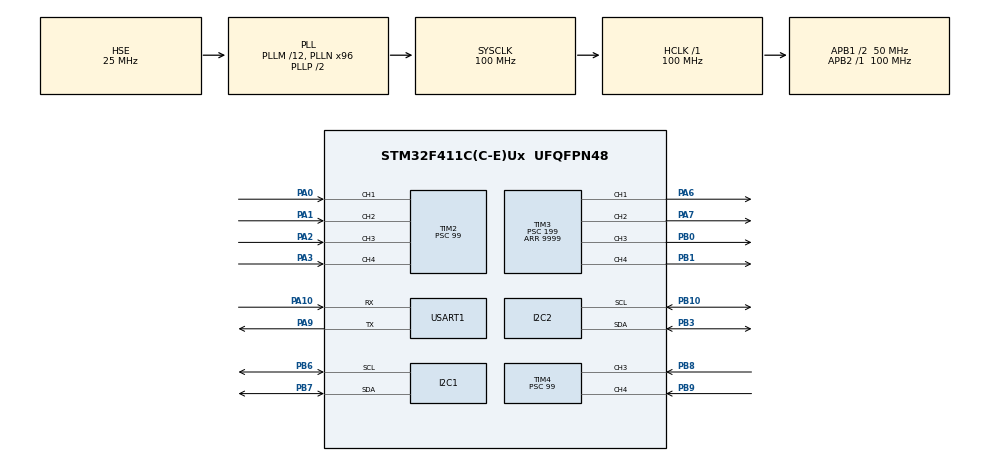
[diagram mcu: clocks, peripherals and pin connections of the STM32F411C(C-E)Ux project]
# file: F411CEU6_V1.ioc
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I2C1.I2C_Mode=I2C_Fast
I2C2.I2C_Mode=I2C_Fast
Mcu.Family=STM32F4
Mcu.Name=STM32F411C(C-E)Ux
Mcu.Package=UFQFPN48
NVIC.PriorityGroup=NVIC_PRIORITYGROUP_4
NVIC.TIM1_UP_TIM10_IRQn=true\:1\:0\:true\:false\:true\:true\:true
NVIC.TIM2_IRQn=true\:3\:0\:true\:false\:true\:true\:true
NVIC.TIM4_IRQn=true\:2\:0\:true\:false\:true\:true\:true
NVIC.USART1_IRQn=true\:4\:0\:true\:false\:true\:true\:true
PA0-WKUP.GPIO_PuPd=GPIO_PULLDOWN
PA0-WKUP.Signal=S_TIM2_CH1_ETR
PA1.GPIO_PuPd=GPIO_PULLDOWN
PA1.Signal=S_TIM2_CH2
PA10.Mode=Asynchronous
PA10.Signal=USART1_RX
PA13.Mode=Serial_Wire
PA13.Signal=SYS_JTMS-SWDIO
PA14.Mode=Serial_Wire
PA14.Signal=SYS_JTCK-SWCLK
PA2.GPIO_PuPd=GPIO_PULLDOWN
PA2.Signal=S_TIM2_CH3
PA3.GPIO_PuPd=GPIO_PULLDOWN
PA3.Signal=S_TIM2_CH4
PA6.GPIO_PuPd=GPIO_PULLDOWN
PA6.Signal=S_TIM3_CH1
PA7.GPIO_PuPd=GPIO_PULLDOWN
PA7.Signal=S_TIM3_CH2
PA9.Mode=Asynchronous
PA9.Signal=USART1_TX
PB0.GPIO_PuPd=GPIO_PULLDOWN
PB0.Signal=S_TIM3_CH3
PB1.GPIO_PuPd=GPIO_PULLDOWN
PB1.Signal=S_TIM3_CH4
PB10.Mode=I2C
PB10.Signal=I2C2_SCL
PB3.Mode=I2C
PB3.Signal=I2C2_SDA
PB6.Mode=I2C
PB6.Signal=I2C1_SCL
PB7.Mode=I2C
PB7.Signal=I2C1_SDA
PB8.GPIO_PuPd=GPIO_PULLDOWN
PB8.Signal=S_TIM4_CH3
PB9.GPIO_PuPd=GPIO_PULLDOWN
PB9.Signal=S_TIM4_CH4
PC14-OSC32_IN.Mode=LSE-External-Oscillator
PC14-OSC32_IN.Signal=RCC_OSC32_IN
PC15-OSC32_OUT.Mode=LSE-External-Oscillator
PC15-OSC32_OUT.Signal=RCC_OSC32_OUT
PH0\ -\ OSC_IN.Mode=HSE-External-Oscillator
PH0\ -\ OSC_IN.Signal=RCC_OSC_IN
PH1\ -\ OSC_OUT.Mode=HSE-External-Oscillator
PH1\ -\ OSC_OUT.Signal=RCC_OSC_OUT
ProjectManager.HeapSize=0x200
ProjectManager.StackSize=0x400
ProjectManager.TargetToolchain=MDK-ARM V5.27
RCC.48MHZClocksFreq_Value=50000000
RCC.AHBFreq_Value=100000000
RCC.APB1CLKDivider=RCC_HCLK_DIV2
RCC.APB1Freq_Value=50000000
RCC.APB1TimFreq_Value=100000000
RCC.APB2Freq_Value=100000000
RCC.APB2TimFreq_Value=100000000
RCC.CortexFreq_Value=100000000
RCC.HCLKFreq_Value=100000000
RCC.HSE_VALUE=25000000
RCC.HSI_VALUE=16000000
RCC.PLLM=12
RCC.PLLN=96
RCC.PLLSourceVirtual=RCC_PLLSOURCE_HSE
RCC.SYSCLKFreq_VALUE=100000000
RCC.SYSCLKSource=RCC_SYSCLKSOURCE_PLLCLK
RCC.VCOOutputFreq_Value=200000000
SH.S_TIM2_CH1_ETR.0=TIM2_CH1,Input_Capture1_from_TI1
SH.S_TIM2_CH2.0=TIM2_CH2,Input_Capture2_from_TI2
SH.S_TIM2_CH3.0=TIM2_CH3,Input_Capture3_from_TI3
SH.S_TIM2_CH4.0=TIM2_CH4,Input_Capture4_from_TI4
SH.S_TIM3_CH1.0=TIM3_CH1,PWM Generation1 CH1
SH.S_TIM3_CH2.0=TIM3_CH2,PWM Generation2 CH2
SH.S_TIM3_CH3.0=TIM3_CH3,PWM Generation3 CH3
SH.S_TIM3_CH4.0=TIM3_CH4,PWM Generation4 CH4
SH.S_TIM4_CH3.0=TIM4_CH3,Input_Capture3_from_TI3
SH.S_TIM4_CH4.0=TIM4_CH4,Input_Capture4_from_TI4
TIM1.Period=49999
TIM1.Prescaler=499
TIM2.Channel-Input_Capture1_from_TI1=TIM_CHANNEL_1
TIM2.Channel-Input_Capture2_from_TI2=TIM_CHANNEL_2
TIM2.Channel-Input_Capture3_from_TI3=TIM_CHANNEL_3
TIM2.Channel-Input_Capture4_from_TI4=TIM_CHANNEL_4
TIM2.Prescaler=99
TIM3.Channel-PWM\ Generation1\ CH1=TIM_CHANNEL_1
TIM3.Channel-PWM\ Generation2\ CH2=TIM_CHANNEL_2
TIM3.Channel-PWM\ Generation3\ CH3=TIM_CHANNEL_3
TIM3.Channel-PWM\ Generation4\ CH4=TIM_CHANNEL_4
TIM3.Period=9999
TIM3.Prescaler=199
TIM4.Channel-Input_Capture3_from_TI3=TIM_CHANNEL_3
TIM4.Channel-Input_Capture4_from_TI4=TIM_CHANNEL_4
TIM4.Prescaler=99
USART1.VirtualMode=VM_ASYNC
VP_TIM1_VS_ClockSourceINT.Mode=Internal
VP_TIM3_VS_ClockSourceINT.Mode=Internal
board=custom

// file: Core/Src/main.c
/* USER CODE BEGIN Header */
/**
  ******************************************************************************
  * @file           : main.c
  * @brief          : Main program body
  ******************************************************************************
  * @attention
  *
  * <h2><center>&copy; Copyright (c) 2020 STMicroelectronics.
  * All rights reserved.</center></h2>
  *
  * This software component is licensed by ST under BSD 3-Clause license,
  * the "License"; You may not use this file except in compliance with the
  * License. You may obtain a copy of the License at:
  *                        opensource.org/licenses/BSD-3-Clause
  *
  ******************************************************************************
  */
/* USER CODE END Header */
#include "main.h"
#include "i2c.h"
#include "tim.h"
#include "usart.h"
#include "gpio.h"

/* USER CODE BEGIN Includes */
//标准库
#include "stdio.h"
//硬件模块驱动层
#include "oled.h"
#include "gy-86.h"
#include "motor.h"
#include "controller.h"
#include "esp8266.h"
//DMP姿态解算
#include "inv_mpu.h"
#include "inv_mpu_dmp_motion_driver.h"
//APP
#include "data_transfer.h"
/* USER CODE END Includes */

/* USER CODE BEGIN PV */
short SoftTick=0;	//软件定时器
float pitch,roll,yaw;	//姿态解算结果
unsigned int Cap[6];  //接收机各通道实时行程 0~100%
extern float Duty[6]; //接收机各通道PWM占空比	<controller.c>
char data[100]; //调试数据缓存
/* USER CODE END PV */

void SystemClock_Config(void);

int main(void)
{

  /* MCU Configuration--------------------------------------------------------*/

  /* Reset of all peripherals, Initializes the Flash interface and the Systick. */
  HAL_Init();

  /* Configure the system clock */
  SystemClock_Config();

  /* Initialize all configured peripherals */
  MX_GPIO_Init();
  MX_I2C1_Init();
  MX_I2C2_Init();
  MX_TIM2_Init();
  MX_TIM3_Init();
  MX_TIM4_Init();
  MX_USART1_UART_Init();
  MX_TIM1_Init();
  /* USER CODE BEGIN 2 */
	//硬件模块初始化
  //OLED初始化
  OLED_Init();
	OLED_Clear();

  //ESP8266初始化
	esp8266_init();
  //输出调试信息
  OLED_Clear();
	OLED_ShowString(8,3,(uint8_t*)"ESP8266_Init OK",16);
	esp8266_cipsend("ESP8266_Init OK\r\n");
	HAL_Delay(1000);

  //电机初始化
	Motor_Init();
  //输出调试信息
	OLED_Clear();
	OLED_ShowString(12,3,(uint8_t*)"Motor_Init OK",16);
	esp8266_cipsend("Motor_Init OK\r\n");
	HAL_Delay(1000);

  //输出调试信息
	OLED_Clear();
	OLED_ShowString(12,3,(uint8_t*)"Motor_Unlock",16);
	esp8266_cipsend("Motor_Unlock\r\n");
	HAL_Delay(1000);
	//电机自动解锁
	Motor_Init();
	Motor_Unlock();
	//输出调试信息
	OLED_Clear();
	OLED_ShowString(6,3,(uint8_t*)"Motor_Unlock OK",16);
	esp8266_cipsend("Motor_Unlock OK\r\n");
	HAL_Delay(1000);

  //接收机初始化
	Input_Capture_Init();
	//输出调试信息
	OLED_Clear();
	OLED_ShowString(0,3,(uint8_t*)"Input_Capture_Init",16);
	esp8266_cipsend("Input_Capture_Init OK\r\n");
	HAL_Delay(1000);

	//GY-86初始化
	//	GY86_Init();
	mpu_dmp_init();
	HAL_TIM_Base_Start_IT(&htim1);
  //输出调试信息
	OLED_Clear();
	OLED_ShowString(12,3,(uint8_t*)"GY86_Init OK",16);
	esp8266_cipsend("GY86_Init OK\r\n");
	HAL_Delay(1000);

  //OLED图形界面绘制
	OLED_Clear();
	OLED_Draw_interface();

  /* USER CODE END 2 */

  /* Infinite loop */
  /* USER CODE BEGIN WHILE */
  while (1)
  {
		if(SoftTick%50==2)
		{
				OLED_Show_3num(Gx, Gy, Gz, 0);
				OLED_Show_3num(Ax, Ay, Az, 1);
				OLED_Show_3num(Mag_x, Mag_y, Mag_z, 2);
				OLED_Show_3num(Cap[0], Cap[1], Cap[2], 3);
				OLED_Show_3num(Cap[3], Cap[4], Cap[5], 4);
				OLED_ShowNum(24, 7, MPU_Get_Temperature(),2,12);
		}
		if(SoftTick%2==1)
		{
				for(int i = 0; i < 6; i++)
				{
					Cap[i] =  (Duty[i] * 100 - 5) / 0.05;
				}
				ANO_DT_Send_Status(roll,pitch,yaw,2333,122,(Cap[5]>50));
				ANO_DT_Send_Senser(Ax,Ay,Az,Gx,Gy,Gz,2333,2333,2333);
				ANO_DT_Send_RCData(0,0,0,0,Cap[0],Cap[1],Cap[2],Cap[3],Cap[4],Cap[5]);
		}
			read_Gyroscope_DPS();
			read_Accelerometer_MPS();
			mpu_dmp_get_data(&pitch,&roll,&yaw);

    /* USER CODE END WHILE */
  }
}

void SystemClock_Config(void)
{
  RCC_OscInitTypeDef RCC_OscInitStruct = {0};
  RCC_ClkInitTypeDef RCC_ClkInitStruct = {0};

  /** Configure the main internal regulator output voltage
  */
  __HAL_RCC_PWR_CLK_ENABLE();
  __HAL_PWR_VOLTAGESCALING_CONFIG(PWR_REGULATOR_VOLTAGE_SCALE1);
  /** Initializes the RCC Oscillators according to the specified parameters
  * in the RCC_OscInitTypeDef structure.
  */
  RCC_OscInitStruct.OscillatorType = RCC_OSCILLATORTYPE_HSE;
  RCC_OscInitStruct.HSEState = RCC_HSE_ON;
  RCC_OscInitStruct.PLL.PLLState = RCC_PLL_ON;
  RCC_OscInitStruct.PLL.PLLSource = RCC_PLLSOURCE_HSE;
  RCC_OscInitStruct.PLL.PLLM = 12;
  RCC_OscInitStruct.PLL.PLLN = 96;
  RCC_OscInitStruct.PLL.PLLP = RCC_PLLP_DIV2;
  RCC_OscInitStruct.PLL.PLLQ = 4;
  if (HAL_RCC_OscConfig(&RCC_OscInitStruct) != HAL_OK)
  {
    Error_Handler();
  }
  /** Initializes the CPU, AHB and APB buses clocks
  */
  RCC_ClkInitStruct.ClockType = RCC_CLOCKTYPE_HCLK|RCC_CLOCKTYPE_SYSCLK
                              |RCC_CLOCKTYPE_PCLK1|RCC_CLOCKTYPE_PCLK2;
  RCC_ClkInitStruct.SYSCLKSource = RCC_SYSCLKSOURCE_PLLCLK;
  RCC_ClkInitStruct.AHBCLKDivider = RCC_SYSCLK_DIV1;
  RCC_ClkInitStruct.APB1CLKDivider = RCC_HCLK_DIV2;
  RCC_ClkInitStruct.APB2CLKDivider = RCC_HCLK_DIV1;

  if (HAL_RCC_ClockConfig(&RCC_ClkInitStruct, FLASH_LATENCY_3) != HAL_OK)
  {
    Error_Handler();
  }
}

/* USER CODE BEGIN 4 */
void HAL_TIM_PeriodElapsedCallback(TIM_HandleTypeDef *htim)
{
		if(SoftTick>1000)SoftTick=0;
		SoftTick++;
}
/* USER CODE END 4 */

void Error_Handler(void)
{
}

/************************ (C) COPYRIGHT STMicroelectronics *****END OF FILE****/
